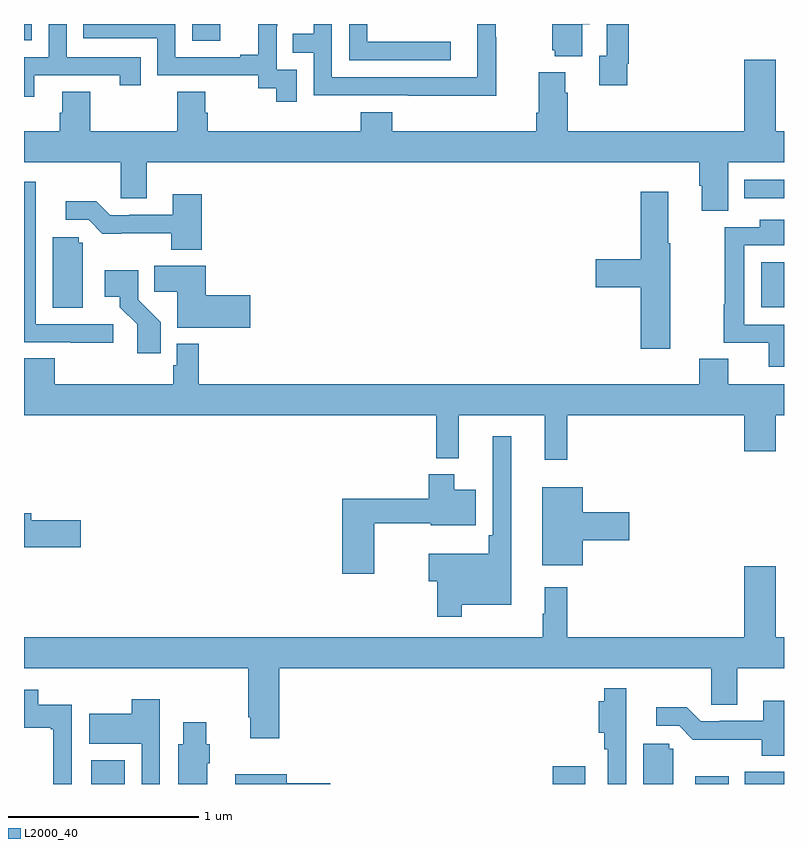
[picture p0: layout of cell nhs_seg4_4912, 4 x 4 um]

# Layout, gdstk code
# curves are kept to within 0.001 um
import gdstk
lib = gdstk.Library(unit=1e-6, precision=1e-09)
def R(c, l, rs):  # rectangles x0, y0, x1, y1
    for r in rs: c.add(gdstk.rectangle(r[:2], r[2:], *l))
def P(c, l, *ps):  # polygons
    for p in ps: c.add(gdstk.Polygon(p, *l))
L2000_40 = (2000, 40)

nhs_seg4_4912 = lib.new_cell('nhs_seg4_4912')
R(nhs_seg4_4912, L2000_40, [(377.354,774.9,377.53,775.024), (379.784,774.9,379.954,774.994), (380.532,774.9,380.709,774.94), (380.794,774.9,381,774.964), (380.879,777.41,381,777.646), (380.792,777.984,381,778.08), (377.886,778.812,378.034,778.9), (377,778.815,377.04,778.9), (378.892,778.898,379.288,778.9)])
P(nhs_seg4_4912, L2000_40, [(379.485,778.829),(379.482,778.829),(379.482,778.9),(379.386,778.9),(379.386,778.832),(379.385,778.832),(379.385,778.62),(378.621,778.62),(378.621,778.9),(378.525,778.9),(378.525,778.85),(378.415,778.85),(378.415,778.749),(378.525,778.749),(378.525,778.524),(379.021,778.524),(379.021,778.523),(379.485,778.523)],
  [(378.435,778.659),(378.33,778.659),(378.33,778.889),(378.332,778.889),(378.332,778.9),(378.233,778.9),(378.233,778.738),(378.137,778.738),(378.137,778.725),(377.796,778.725),(377.796,778.9),(377.311,778.9),(377.311,778.824),(377.7,778.824),(377.7,778.629),(378.234,778.629),(378.234,778.561),(378.327,778.561),(378.327,778.491),(378.435,778.491)],
  [(380.176,778.69),(380.183,778.69),(380.183,778.9),(380.067,778.9),(380.067,778.734),(380.027,778.734),(380.027,778.578),(380.176,778.578)],
  [(377.053,778.629),(377.504,778.629),(377.504,778.578),(377.615,778.578),(377.615,778.725),(377.226,778.725),(377.226,778.9),(377.13,778.9),(377.13,778.725),(377,778.725),(377,778.518),(377.053,778.518)],
  [(379.939,778.898),(379.978,778.898),(379.978,778.9),(379.781,778.9),(379.781,778.761),(379.793,778.761),(379.793,778.73),(379.939,778.73)],
  [(379.246,778.806),(378.807,778.806),(378.807,778.9),(378.711,778.9),(378.711,778.71),(379.246,778.71)],
  [(380.707,778.172),(381,778.172),(381,778.336),(380.956,778.336),(380.956,778.711),(380.792,778.711),(380.792,778.336),(379.862,778.336),(379.862,778.538),(379.849,778.538),(379.849,778.645),(379.709,778.645),(379.709,778.432),(379.697,778.432),(379.697,778.336),(378.938,778.336),(378.938,778.435),(378.773,778.435),(378.773,778.336),(377.966,778.336),(377.966,778.434),(377.953,778.434),(377.953,778.544),(377.806,778.544),(377.806,778.336),(377.349,778.336),(377.349,778.544),(377.201,778.544),(377.201,778.434),(377.189,778.434),(377.189,778.336),(377,778.336),(377,778.172),(377.508,778.172),(377.508,777.982),(377.647,777.982),(377.647,778.172),(380.555,778.172),(380.555,778.05),(380.567,778.05),(380.567,777.916),(380.707,777.916)],
  [(377.47,777.321),(377.061,777.321),(377.061,778.069),(377,778.069),(377,777.225),(377.245,777.225),(377.245,777.223),(377.47,777.223)],
  [(380.4,777.745),(380.392,777.745),(380.392,778.018),(380.246,778.018),(380.246,777.662),(380.01,777.662),(380.01,777.515),(380.246,777.515),(380.246,777.192),(380.4,777.192)],
  [(377.936,778.003),(377.783,778.003),(377.783,777.897),(377.554,777.897),(377.554,777.894),(377.454,777.894),(377.381,777.967),(377.22,777.967),(377.22,777.87),(377.34,777.87),(377.413,777.797),(377.776,777.798),(377.776,777.713),(377.936,777.713)],
  [(381,777.318),(380.79,777.318),(380.79,777.735),(381,777.735),(381,777.871),(380.872,777.871),(380.872,777.831),(380.689,777.831),(380.689,777.425),(380.682,777.425),(380.682,777.222),(380.921,777.222),(380.921,777.096),(381,777.096)],
  [(377.308,777.75),(377.289,777.75),(377.289,777.777),(377.15,777.777),(377.15,777.406),(377.308,777.406)],
  [(378.19,777.473),(377.957,777.473),(377.957,777.628),(377.686,777.628),(377.686,777.49),(377.807,777.49),(377.807,777.302),(378.19,777.302)],
  [(377.72,777.33),(377.601,777.449),(377.601,777.604),(377.424,777.604),(377.424,777.464),(377.504,777.464),(377.504,777.409),(377.595,777.319),(377.595,777.168),(377.72,777.168)],
  [(379.859,776.84),(380.792,776.84),(380.792,776.652),(380.956,776.652),(380.956,776.84),(381,776.84),(381,777.004),(380.707,777.004),(380.707,777.137),(380.555,777.137),(380.555,777.004),(377.921,777.004),(377.921,777.217),(377.805,777.217),(377.805,777.105),(377.785,777.105),(377.785,777.004),(377.162,777.004),(377.162,777.14),(377,777.14),(377,776.84),(379.171,776.84),(379.171,776.615),(379.289,776.615),(379.289,776.84),(379.742,776.84),(379.742,776.607),(379.859,776.607)],
  [(379.303,775.844),(379.564,775.844),(379.564,776.731),(379.467,776.731),(379.467,776.209),(379.447,776.209),(379.447,776.113),(379.13,776.113),(379.13,775.966),(379.174,775.966),(379.174,775.779),(379.303,775.779)],
  [(378.844,776.272),(379.142,776.272),(379.142,776.261),(379.378,776.261),(379.378,776.449),(379.264,776.449),(379.264,776.53),(379.13,776.53),(379.13,776.401),(378.674,776.401),(378.674,776.007),(378.844,776.007)],
  [(379.942,776.183),(380.185,776.183),(380.185,776.33),(379.942,776.33),(379.942,776.461),(379.727,776.461),(379.727,776.051),(379.942,776.051)],
  [(377.299,776.288),(377.038,776.288),(377.038,776.324),(377,776.324),(377,776.146),(377.299,776.146)],
  [(378.344,775.508),(380.616,775.508),(380.616,775.318),(380.755,775.318),(380.755,775.508),(381,775.508),(381,775.672),(380.956,775.672),(380.956,776.047),(380.792,776.047),(380.792,775.672),(379.859,775.672),(379.859,775.936),(379.742,775.936),(379.742,775.796),(379.731,775.796),(379.731,775.672),(377,775.672),(377,775.508),(378.179,775.508),(378.179,775.252),(378.191,775.252),(378.191,775.14),(378.344,775.14)],
  [(380.169,775.182),(380.17,775.182),(380.17,775.405),(380.053,775.405),(380.053,775.336),(380.024,775.336),(380.024,775.171),(380.053,775.171),(380.053,775.082),(380.073,775.082),(380.073,774.9),(380.169,774.9)],
  [(377.25,775.318),(377.074,775.318),(377.074,775.396),(377,775.396),(377,775.196),(377.142,775.196),(377.142,775.189),(377.153,775.189),(377.153,774.9),(377.25,774.9)],
  [(377.715,775.345),(377.566,775.345),(377.566,775.27),(377.343,775.27),(377.343,775.112),(377.619,775.112),(377.619,774.9),(377.715,774.9)],
  [(381,775.339),(380.891,775.339),(380.891,775.233),(380.662,775.233),(380.662,775.23),(380.562,775.23),(380.489,775.303),(380.328,775.303),(380.328,775.206),(380.448,775.206),(380.521,775.133),(380.884,775.134),(380.884,775.049),(381,775.049)],
  [(377.965,775.01),(377.978,775.01),(377.978,775.11),(377.959,775.11),(377.959,775.225),(377.837,775.225),(377.837,775.11),(377.813,775.11),(377.813,774.9),(377.965,774.9)],
  [(380.416,775.086),(380.397,775.086),(380.397,775.113),(380.258,775.113),(380.258,774.9),(380.416,774.9)],
  [(378.613,774.905),(378.382,774.905),(378.382,774.952),(378.111,774.952),(378.111,774.9),(378.613,774.9)])

lib.write_gds('nhs_seg4_4912.gds')
